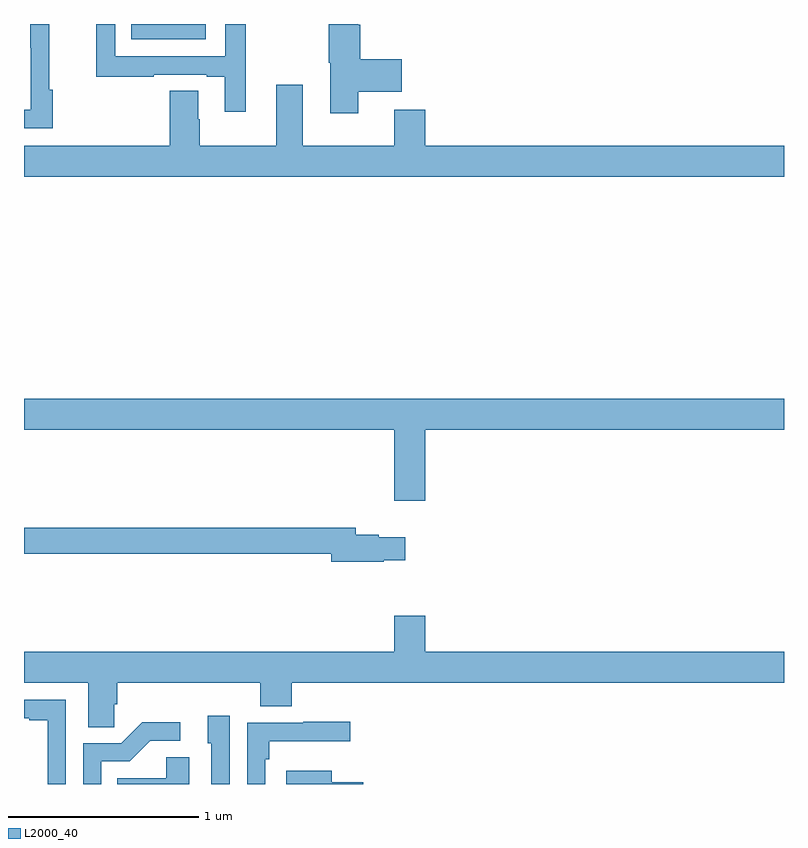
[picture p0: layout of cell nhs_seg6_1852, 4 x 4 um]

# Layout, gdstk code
import gdstk
lib = gdstk.Library(unit=1e-6, precision=1e-09)
def R(c, l, rs):  # rectangles x0, y0, x1, y1
    for r in rs: c.add(gdstk.rectangle(r[:2], r[2:], *l))
def P(c, l, *ps):  # polygons
    for p in ps: c.add(gdstk.Polygon(p, *l))
L2000_40 = (2000, 40)

nhs_seg6_1852 = lib.new_cell('nhs_seg6_1852')
R(nhs_seg6_1852, L2000_40, [(223.564,921.419,223.957,921.5)])
P(nhs_seg6_1852, L2000_40, [(223.151,921.155),(223.134,921.155),(223.134,921.5),(223.034,921.5),(223.034,921.376),(223.035,921.376),(223.035,921.048),(223,921.048),(223,920.952),(223.151,920.952)],
  [(224.167,921.5),(224.058,921.5),(224.058,921.33),(223.479,921.33),(223.479,921.5),(223.381,921.5),(223.381,921.222),(223.682,921.222),(223.682,921.234),(223.961,921.234),(223.961,921.222),(224.057,921.222),(224.057,921.039),(224.167,921.039)],
  [(224.758,921.143),(224.989,921.143),(224.989,921.314),(224.771,921.314),(224.771,921.497),(224.758,921.497),(224.758,921.5),(224.605,921.5),(224.605,921.297),(224.612,921.297),(224.612,921.03),(224.758,921.03)],
  [(227,920.86),(225.112,920.86),(225.112,921.049),(224.948,921.049),(224.948,920.86),(224.467,920.86),(224.467,921.181),(224.327,921.181),(224.327,920.86),(223.926,920.86),(223.926,920.999),(223.918,920.999),(223.918,921.149),(223.766,921.149),(223.766,920.86),(223,920.86),(223,920.696),(227,920.696)],
  [(225.112,919.364),(227,919.364),(227,919.528),(223,919.528),(223,919.364),(224.948,919.364),(224.948,918.99),(225.112,918.99)],
  [(224.894,918.677),(225.007,918.677),(225.007,918.799),(224.868,918.799),(224.868,918.812),(224.746,918.812),(224.746,918.848),(223,918.848),(223,918.712),(224.618,918.712),(224.618,918.67),(224.894,918.67)],
  [(223.475,917.92),(223.49,917.92),(223.49,918.032),(224.243,918.032),(224.243,917.908),(224.408,917.908),(224.408,918.032),(227,918.032),(227,918.196),(225.112,918.196),(225.112,918.385),(224.948,918.385),(224.948,918.196),(223,918.196),(223,918.032),(223.337,918.032),(223.337,917.8),(223.475,917.8)],
  [(223.221,917.943),(223,917.943),(223,917.847),(223.028,917.847),(223.028,917.835),(223.124,917.835),(223.124,917.5),(223.221,917.5)],
  [(224.082,917.86),(223.967,917.86),(223.967,917.715),(223.986,917.715),(223.986,917.5),(224.082,917.5)],
  [(224.271,917.63),(224.291,917.63),(224.291,917.726),(224.716,917.726),(224.716,917.827),(224.471,917.827),(224.471,917.823),(224.175,917.823),(224.175,917.5),(224.271,917.5)],
  [(223.407,917.619),(223.557,917.619),(223.665,917.727),(223.822,917.727),(223.822,917.825),(223.622,917.825),(223.512,917.715),(223.311,917.715),(223.311,917.5),(223.407,917.5)],
  [(223.87,917.642),(223.748,917.642),(223.748,917.53),(223.492,917.53),(223.492,917.5),(223.87,917.5)],
  [(224.785,917.509),(224.62,917.509),(224.62,917.569),(224.381,917.569),(224.381,917.5),(224.785,917.5)])

lib.write_gds('nhs_seg6_1852.gds')
